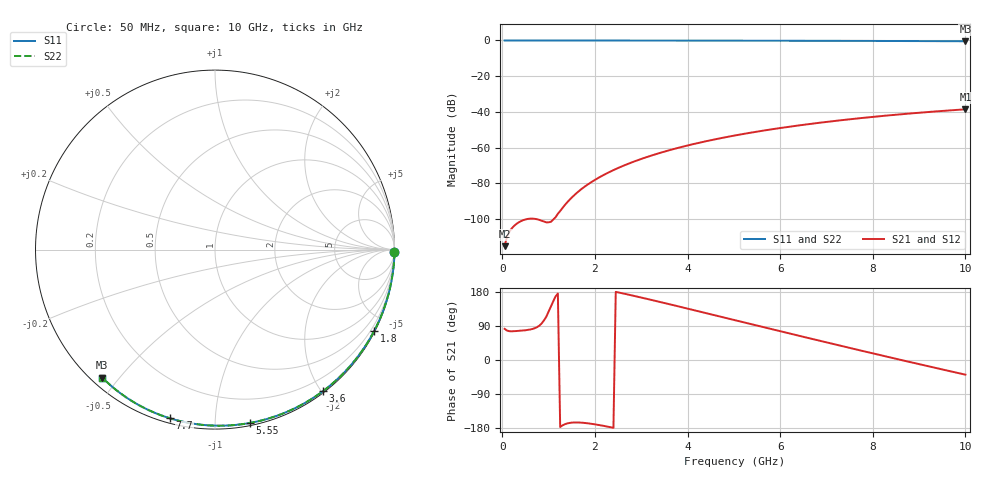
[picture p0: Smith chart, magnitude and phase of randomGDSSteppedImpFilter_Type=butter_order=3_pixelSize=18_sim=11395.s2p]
! freq	dB(S11)	phase(S11)	dB(S12)	phase(S12)
!  dB(S21)	phase(S21)	dB(S22)	phase(S22)
!S-par simulation data
#  GHz  S  DB  R 50
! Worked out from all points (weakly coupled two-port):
!   200 points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, 50 MHz to 10 GHz, reference 50 ohm
!   highest |S21| = -38.57 dB at 10 GHz (marker M1); lowest = -115.3 dB at 50 MHz (marker M2)
!   lowest |S11| = -0.4 dB at 10 GHz (marker M3), VSWR 39.25, Z = 1.53 - j22.6 ohm
!   |S11| at or under -10 dB: nowhere
!   |S22| runs from -0.4 to 0.0 dB; largest |S21 - S12| = 0
!   S11 on the Smith chart (normalised r, x): 50 MHz: open; 1.8 GHz: 0.04, -4.18; 3.6 GHz: 0.02, -2.02; 5.55 GHz: 0.02, -1.22; 7.7 GHz: 0.02, -0.77; 10 GHz: 0.03, -0.45
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0.05  -0.00 -0.8  -115.27 82.2  -115.27 82.2  -0.00 -0.8
0.45  -0.01 -6.8  -100.72 77.9  -100.72 77.9  -0.01 -6.8
0.9  -0.02 -13.6  -101.53 104.6  -101.53 104.6  -0.02 -13.6
1.75  -0.03 -26.2  -82.47 -165.8  -82.47 -165.8  -0.03 -26.2
1.8  -0.03 -26.9  -81.52 -166.4  -81.52 -166.4  -0.03 -26.9
1.9  -0.04 -28.4  -79.76 -167.9  -79.76 -167.9  -0.04 -28.4
2.05  -0.04 -30.6  -77.36 -170.8  -77.36 -170.8  -0.04 -30.6
2.25  -0.04 -33.5  -74.54 -175.2  -74.54 -175.2  -0.04 -33.5
2.45  -0.05 -36.4  -72.05 179.8  -72.05 179.8  -0.05 -36.4
2.65  -0.05 -39.2  -69.82 174.5  -69.82 174.5  -0.05 -39.2
3  -0.06 -44.2  -66.40 164.8  -66.40 164.8  -0.06 -44.2
3.4  -0.07 -49.9  -63.05 153.3  -63.05 153.3  -0.07 -49.9
3.6  -0.07 -52.6  -61.55 147.5  -61.55 147.5  -0.07 -52.6
4.3  -0.09 -62.2  -57.04 126.7  -57.04 126.7  -0.09 -62.2
5.05  -0.11 -72.2  -53.11 104.3  -53.11 104.3  -0.11 -72.2
5.55  -0.13 -78.6  -50.88 89.4  -50.88 89.4  -0.13 -78.6
6.1  -0.15 -85.6  -48.70 73.0  -48.70 73.0  -0.15 -85.6
6.7  -0.18 -93.0  -46.61 55.3  -46.61 55.3  -0.18 -93.0
7.7  -0.24 -105.0  -43.62 26.2  -43.62 26.2  -0.24 -105.0
8.35  -0.29 -112.6  -41.97 7.5  -41.97 7.5  -0.29 -112.6
9.15  -0.36 -121.7  -40.19 -15.1  -40.19 -15.1  -0.36 -121.7
10  -0.44 -131.3  -38.57 -38.7  -38.57 -38.7  -0.44 -131.3
